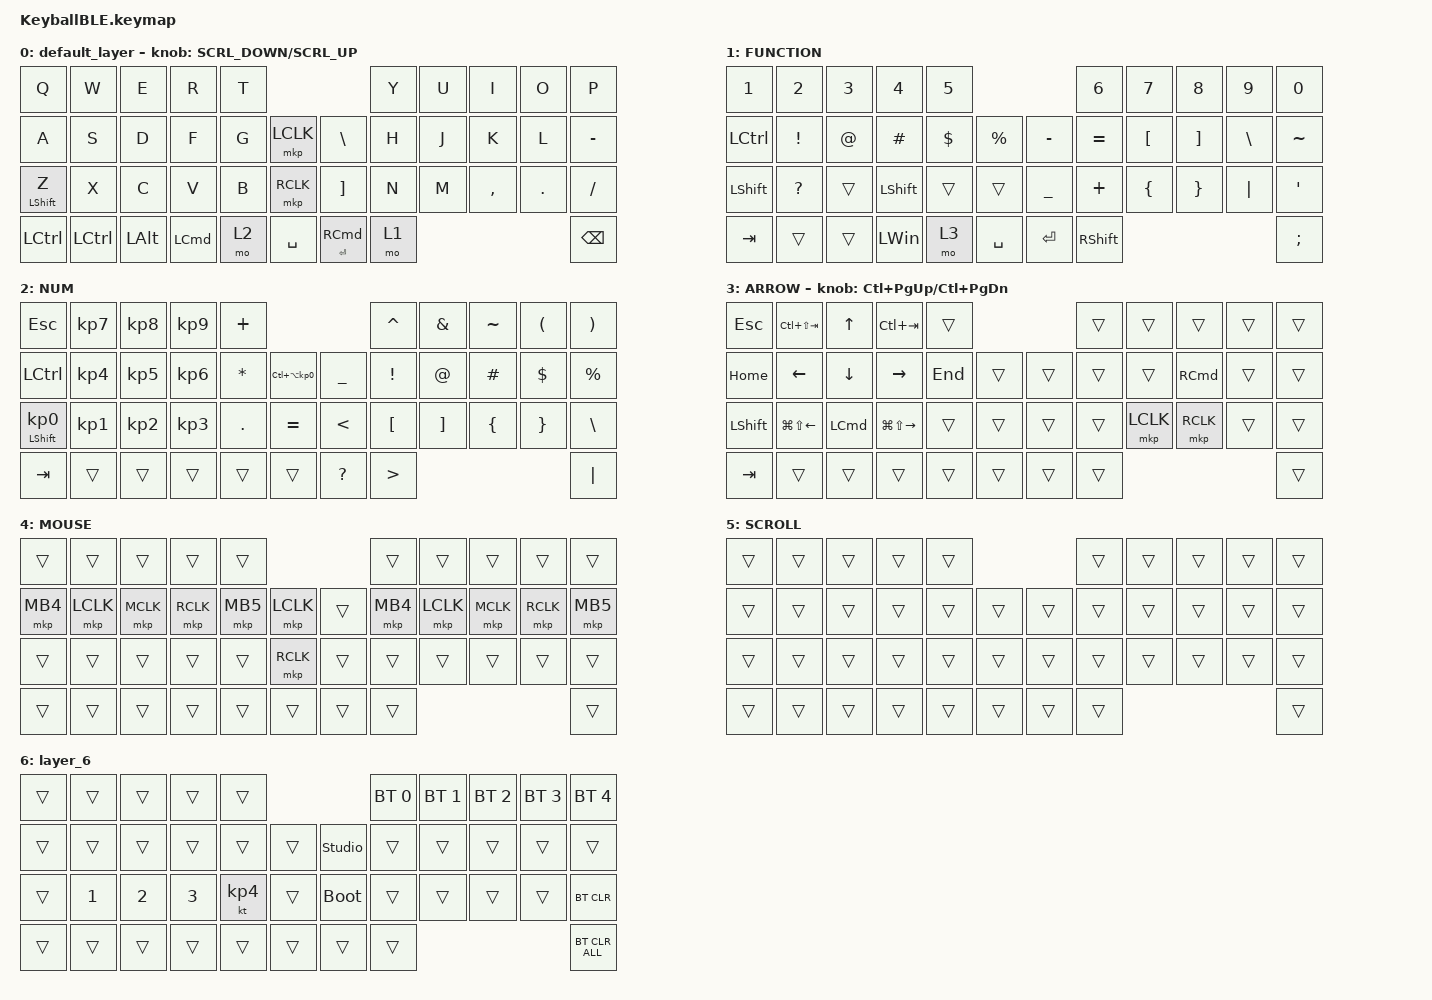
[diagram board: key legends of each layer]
#define ZMK_POINTING_DEFAULT_SCRL_VAL 120    // default: 10

#include <behaviors.dtsi>
#include <dt-bindings/zmk/bt.h>
#include <dt-bindings/zmk/keys.h>
#include <dt-bindings/zmk/pointing.h>

#define MOUSE 4
#define SCROLL 5
#define NUM 6

&mt {
    flavor = "balanced";
    quick-tap-ms = <0>;
};

/ {
    combos {
        compatible = "zmk,combos";

        double_quotation {
            bindings = <&kp DOUBLE_QUOTES>;
            key-positions = <20 21>;
        };
    };

    macros {
        to_layer_0: to_layer_0 {
            compatible = "zmk,behavior-macro-one-param";
            #binding-cells = <1>;
            bindings = <&to 0 &macro_param_1to1 &kp MACRO_PLACEHOLDER>;
            label = "TO_LAYER_0";
        };
    };

    behaviors {
        lt_to_layer_0: lt_to_layer_0 {
            compatible = "zmk,behavior-hold-tap";
            label = "LAYER_TAP_TO_0";
            bindings = <&mo>, <&to_layer_0>;

            #binding-cells = <2>;
            tapping-term-ms = <200>;
        };

        ROTATE: ROTATE {
            compatible = "zmk,behavior-sensor-rotate-var";
            label = "ROTATE";
            #sensor-binding-cells = <2>;
            bindings = <&msc>, <&msc>;

            tap-ms = <20>;
        };
    };

    keymap {
        compatible = "zmk,keymap";

        default_layer {
            bindings = <
&kp Q             &kp W      &kp E         &kp R             &kp T                                          &kp Y  &kp U  &kp I      &kp O    &kp P
&kp A             &kp S      &kp D         &kp F             &kp G  &mkp LCLK      &kp BACKSLASH            &kp H  &kp J  &kp K      &kp L    &kp MINUS
&mt LEFT_SHIFT Z  &kp X      &kp C         &kp V             &kp B  &mkp RCLK      &kp RIGHT_BRACKET        &kp N  &kp M  &kp COMMA  &kp DOT  &kp SLASH
&kp LCTRL         &kp LCTRL  &kp LEFT_ALT  &kp LEFT_COMMAND  &mo 2  &kp SPACE      &mt ENTER RIGHT_COMMAND  &mo 1                             &kp BACKSPACE
            >;

            sensor-bindings = <&ROTATE SCRL_DOWN SCRL_UP>;
        };

        FUNCTION {
            bindings = <
&kp NUMBER_1      &kp NUMBER_2     &kp NUMBER_3  &kp NUMBER_4    &kp NUMBER_5                                   &kp NUMBER_6     &kp NUMBER_7      &kp NUMBER_8       &kp NUMBER_9   &kp NUMBER_0
&kp LEFT_CONTROL  &kp EXCLAMATION  &kp AT_SIGN   &kp HASH        &kp DOLLAR    &kp PERCENT      &kp MINUS       &kp EQUAL        &kp LEFT_BRACKET  &kp RIGHT_BRACKET  &kp BACKSLASH  &kp TILDE
&kp LEFT_SHIFT    &kp QUESTION     &trans        &kp LEFT_SHIFT  &trans        &trans           &kp UNDERSCORE  &kp PLUS         &kp LEFT_BRACE    &kp RIGHT_BRACE    &kp PIPE       &kp SINGLE_QUOTE
&kp TAB           &trans           &trans        &kp LEFT_WIN    &mo 3         &kp SPACE        &kp ENTER       &kp RIGHT_SHIFT                                                      &kp SEMICOLON
            >;
        };

        NUM {
            bindings = <
&kp ESC                     &kp KP_NUMBER_7  &kp KP_NUMBER_8  &kp KP_NUMBER_9  &kp PLUS                                                   &kp CARET         &kp AMPERSAND      &kp TILDE       &kp LEFT_PARENTHESIS  &kp RIGHT_PARENTHESIS
&kp LEFT_CONTROL            &kp KP_NUMBER_4  &kp KP_NUMBER_5  &kp KP_NUMBER_6  &kp ASTERISK  &kp LC(LA(KP_NUMBER_0))      &kp UNDERSCORE  &kp EXCLAMATION   &kp AT_SIGN        &kp HASH        &kp DOLLAR            &kp PERCENT
&mt LEFT_SHIFT KP_NUMBER_0  &kp KP_NUMBER_1  &kp KP_NUMBER_2  &kp KP_NUMBER_3  &kp PERIOD    &kp EQUAL                    &kp LESS_THAN   &kp LEFT_BRACKET  &kp RIGHT_BRACKET  &kp LEFT_BRACE  &kp RIGHT_BRACE       &kp BACKSLASH
&kp TAB                     &trans           &trans           &trans           &trans        &trans                       &kp QUESTION    &kp GREATER_THAN                                                           &kp PIPE
            >;
        };

        ARROW {
            bindings = <
&kp ESCAPE      &kp LC(LS(TAB))         &kp UP_ARROW      &kp LC(TAB)              &trans                       &trans  &trans     &trans             &trans  &trans
&kp HOME        &kp LEFT_ARROW          &kp DOWN_ARROW    &kp RIGHT_ARROW          &kp END  &trans      &trans  &trans  &trans     &kp RIGHT_COMMAND  &trans  &trans
&kp LEFT_SHIFT  &kp LG(LS(LEFT_ARROW))  &kp LEFT_COMMAND  &kp LG(LS(RIGHT_ARROW))  &trans   &trans      &trans  &trans  &mkp LCLK  &mkp RCLK          &trans  &trans
&kp TAB         &trans                  &trans            &trans                   &trans   &trans      &trans  &trans                                        &trans
            >;

            sensor-bindings = <&inc_dec_kp LC(PAGE_UP) LC(PAGE_DOWN)>;
        };

        MOUSE {
            bindings = <
&trans    &trans     &trans     &trans     &trans                           &trans    &trans     &trans     &trans     &trans
&mkp MB4  &mkp LCLK  &mkp MCLK  &mkp RCLK  &mkp MB5  &mkp LCLK      &trans  &mkp MB4  &mkp LCLK  &mkp MCLK  &mkp RCLK  &mkp MB5
&trans    &trans     &trans     &trans     &trans    &mkp RCLK      &trans  &trans    &trans     &trans     &trans     &trans
&trans    &trans     &trans     &trans     &trans    &trans         &trans  &trans                                     &trans
            >;
        };

        SCROLL {
            bindings = <
&trans  &trans  &trans  &trans  &trans                      &trans  &trans  &trans  &trans  &trans
&trans  &trans  &trans  &trans  &trans  &trans      &trans  &trans  &trans  &trans  &trans  &trans
&trans  &trans  &trans  &trans  &trans  &trans      &trans  &trans  &trans  &trans  &trans  &trans
&trans  &trans  &trans  &trans  &trans  &trans      &trans  &trans                          &trans
            >;
        };

        layer_6 {
            bindings = <
&trans  &trans        &trans        &trans        &trans                                 &bt BT_SEL 0  &bt BT_SEL 1  &bt BT_SEL 2  &bt BT_SEL 3  &bt BT_SEL 4
&trans  &trans        &trans        &trans        &trans     &trans      &studio_unlock  &trans        &trans        &trans        &trans        &trans
&trans  &kp NUMBER_1  &kp NUMBER_2  &kp NUMBER_3  &kt KP_N4  &trans      &bootloader     &trans        &trans        &trans        &trans        &bt BT_CLR
&trans  &trans        &trans        &trans        &trans     &trans      &trans          &trans                                                  &bt BT_CLR_ALL
            >;
        };
    };
};
